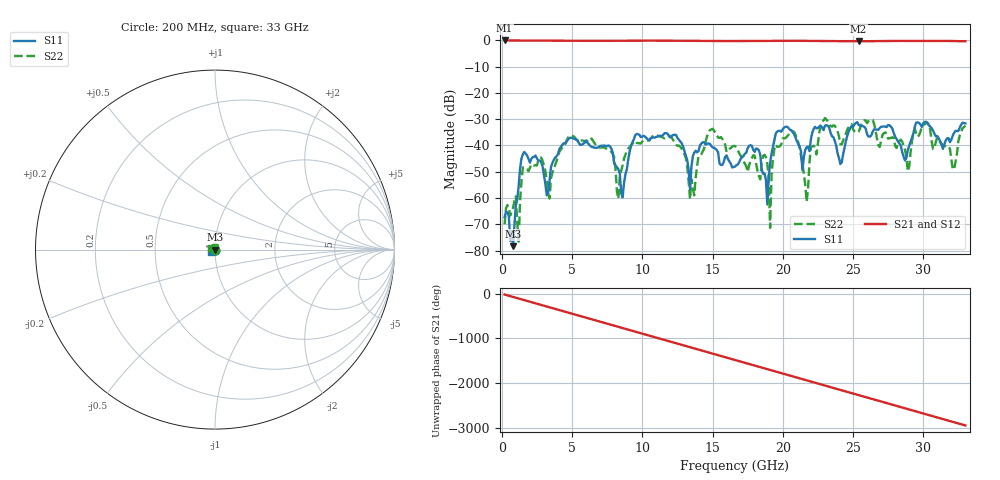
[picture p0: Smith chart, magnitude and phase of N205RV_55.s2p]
# GHZ S RI R 50
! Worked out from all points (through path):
!   329 points, 200 MHz to 33 GHz, reference 50 ohm
!   highest |S21| = -0.01 dB at 200 MHz (marker M1); lowest = -0.3 dB at 25.4 GHz (marker M2)
!   group delay of S21, straight-line fit = 248 ps
!   lowest |S11| = -78.3 dB at 800 MHz (marker M3), VSWR 1.00, Z = 50 + j0.00276 ohm
!   |S11| at or under -10 dB: start of sweep to end of sweep
!   |S22| runs from -76.7 to -29.6 dB; largest |S21 - S12| = 0.0019
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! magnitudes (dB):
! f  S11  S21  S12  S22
! 200 MHz  -67.2  0.0  0.0  -70.0
! 800 MHz  -78.3  0.0  0.0  -63.7
! 1.2 GHz  -55.5  0.0  0.0  -76.7
! 1.6 GHz  -42.5  0.0  0.0  -48.4
! 3.2 GHz  -59.0  -0.1  -0.1  -52.9
! 5.7 GHz  -39.7  -0.1  -0.1  -38.1
! 8.3 GHz  -49.1  -0.1  -0.1  -60.3
! 11.2 GHz  -36.4  -0.1  -0.1  -36.5
! 13.4 GHz  -56.8  -0.2  -0.2  -60.5
! 14.8 GHz  -39.3  -0.2  -0.2  -34.2
! 16.6 GHz  -48.0  -0.2  -0.2  -40.2
! 18.8 GHz  -52.9  -0.1  -0.2  -44.5
! 19.1 GHz  -46.7  -0.1  -0.1  -71.4
! 19.5 GHz  -35.4  -0.1  -0.1  -39.7
! 20.8 GHz  -35.7  -0.1  -0.1  -34.9
! 21.7 GHz  -40.7  -0.2  -0.2  -61.4
! 22.1 GHz  -35.1  -0.2  -0.2  -40.3
! 24.1 GHz  -47.1  -0.3  -0.3  -39.5
! 25.4 GHz  -32.1  -0.3  -0.3  -34.7
! 27.6 GHz  -32.3  -0.2  -0.2  -37.2
! 32.2 GHz  -35.2  -0.2  -0.2  -49.1
! 33 GHz  -31.6  -0.3  -0.3  -32.5
